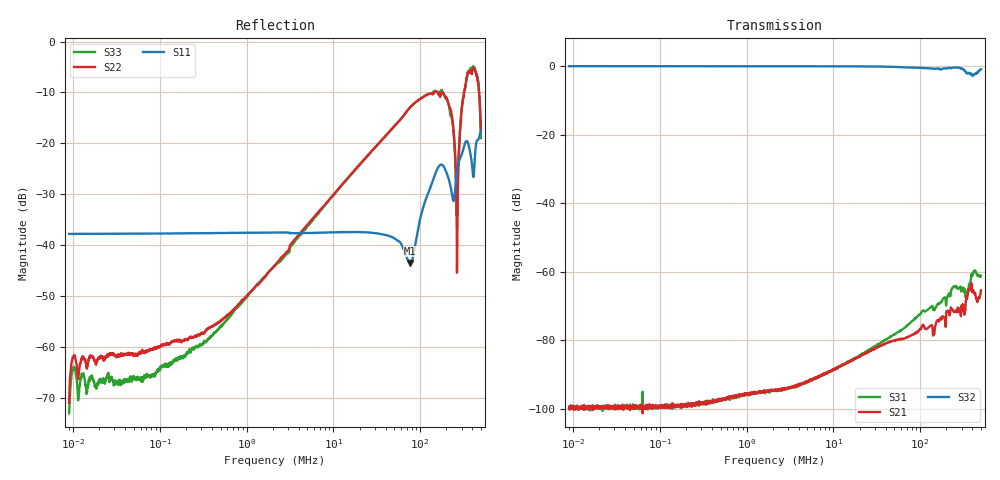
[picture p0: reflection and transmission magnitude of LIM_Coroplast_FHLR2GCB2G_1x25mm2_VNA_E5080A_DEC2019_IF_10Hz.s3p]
!Keysight Technologies,E5080A,MY55201161,A.12.60.03
!Date: Thursday, December 19, 2019 21:14:24
!Correction: S11(Full 3 Port(1,2,3))
!S12(Full 3 Port(1,2,3))
!S13(Full 3 Port(1,2,3))
!S21(Full 3 Port(1,2,3))
!S22(Full 3 Port(1,2,3))
!S23(Full 3 Port(1,2,3))
!S31(Full 3 Port(1,2,3))
!S32(Full 3 Port(1,2,3))
!S33(Full 3 Port(1,2,3))
!S3P File: Measurements: <S11,S12,S13>,
!<S21,S22,S23>,
!<S31,S32,S33>:Log Frequency Sweep
# Hz S  dB  R 50
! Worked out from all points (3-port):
!   2000 points, 9 kHz to 500 MHz, reference 50 ohm
!   strongest paths, dB at 9 kHz, 138.4 kHz, 2.127 MHz, 32.7 MHz, 500 MHz:
!     S32: 0.0, 0.0, 0.0, -0.1, -0.9
!     S21: -99.9, -99.4, -94.4, -82.0, -65.5
!     S31: -99.7, -99.2, -94.8, -81.3, -61.2
!   lowest |S11| = -43.5 dB at 76.71 MHz (marker M1), VSWR 1.01, Z = 50.4 + j0.498 ohm
!   |S11| at or under -10 dB: start of sweep to end of sweep
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9000  -37.81 -1.6  -99.47 0.7  -99.94 178.1
      -99.88 -1.8  -71.03 93.5  -0.00 -0.0
      -99.72 179.9  -0.00 -0.0  -73.06 142.4
2127125  -37.52 2.9  -94.76 -134.6  -94.87 44.5
         -94.44 -135.5  -43.89 -77.0  -0.02 -2.1
         -94.80 45.9  -0.02 -2.1  -44.04 -82.2
2.642408e7  -37.55 11.7  -83.16 -136.8  -82.67 41.9
            -83.13 -136.4  -21.85 -113.0  -0.07 -25.4
            -82.65 42.5  -0.08 -25.4  -21.93 -113.0
7.670827e7  -43.51 47.8  -78.73 -158.5  -74.99 5.2
            -78.72 -158.6  -12.88 -160.2  -0.39 -72.1
            -74.96 5.2  -0.40 -72.2  -12.91 -159.6
1.268262e8  -29.29 94.3  -76.14 178.7  -70.79 -47.7
            -76.12 178.7  -10.28 151.2  -0.60 -117.8
            -70.77 -47.8  -0.61 -117.8  -10.27 153.8
1.942432e8  -25.15 46.5  -74.87 124.1  -67.65 -119.9
            -74.71 123.2  -10.92 94.1  -0.66 -177.7
            -67.58 -119.3  -0.66 -177.8  -11.00 94.9
2.637938e8  -26.04 92.3  -71.44 -43.7  -64.53 156.8
            -71.42 -43.7  -37.91 -8.4  -0.42 115.6
            -64.47 156.4  -0.43 115.5  -31.75 105.0
2.863307e8  -23.04 87.4  -70.68 -101.3  -64.73 131.3
            -70.74 -101.2  -17.94 -174.0  -0.51 92.6
            -64.75 131.0  -0.52 92.5  -17.53 176.3
3.804455e8  -22.24 28.7  -64.77 100.0  -62.98 62.6
            -64.68 99.6  -5.65 98.7  -2.24 7.8
            -62.91 62.1  -2.25 7.8  -5.19 99.8
5e8  -17.49 44.0  -65.95 -166.0  -61.51 -81.0
     -65.49 -165.3  -17.27 17.8  -0.89 -97.9
     -61.17 -81.7  -0.89 -98.0  -18.98 19.2
